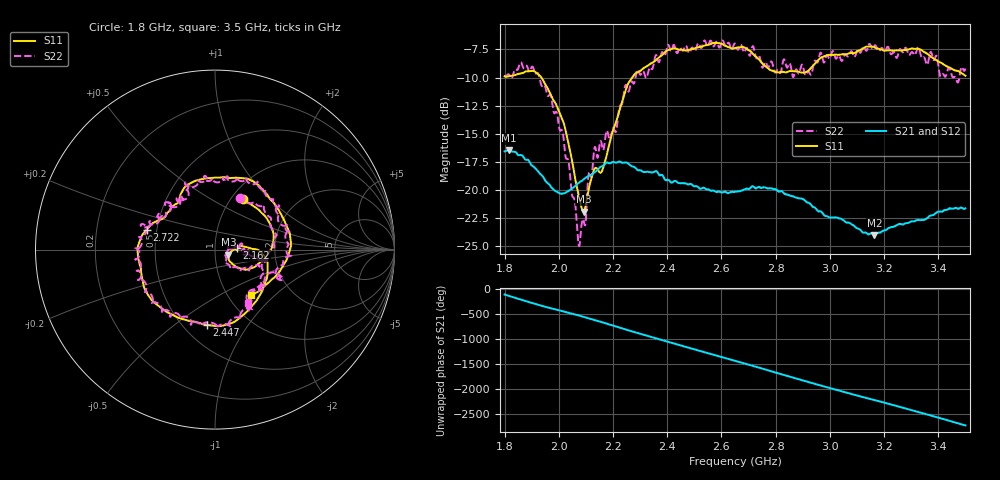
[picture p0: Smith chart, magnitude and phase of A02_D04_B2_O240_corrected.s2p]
! Created with skrf 1.9.0 (http://scikit-rf.org).
# Hz S RI R 50.0
!freq ReS11 ImS11 ReS21 ImS21 ReS12 ImS12 ReS22 ImS22
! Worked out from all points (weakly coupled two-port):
!   1601 points, 1.8 GHz to 3.5 GHz, reference 50 ohm
!   highest |S21| = -16.47 dB at 1.817 GHz (marker M1); lowest = -24.0 dB at 3.164 GHz (marker M2)
!   lowest |S11| = -21.9 dB at 2.091 GHz (marker M3), VSWR 1.17, Z = 58 - j3.31 ohm
!   |S11| at or under -10 dB: 1.935 GHz to 2.271 GHz (335.5 MHz wide, 16 % of centre)
!   |S22| runs from -25.0 to -6.7 dB; largest |S21 - S12| = 0.0024
!   S11 on the Smith chart (normalised r, x): 1.8 GHz: 1.13, +0.71; 2.162 GHz: 1.28, +0.03; 2.447 GHz: 0.65, -0.66; 2.722 GHz: 0.44, +0.12; 3.5 GHz: 1.27, -0.72
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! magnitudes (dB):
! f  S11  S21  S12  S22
! 1.8 GHz  -9.9  -16.6  -16.6  -9.9
! 1.817 GHz  -9.9  -16.5  -16.5  -9.8
! 1.903 GHz  -9.4  -17.9  -17.9  -9.0
! 1.968 GHz  -11.4  -19.6  -19.7  -11.5
! 2.015 GHz  -13.8  -20.3  -20.4  -14.9
! 2.072 GHz  -20.3  -19.4  -19.4  -24.8
! 2.084 GHz  -21.6  -19.2  -19.2  -23.1
! 2.091 GHz  -21.9  -19.1  -19.1  -22.7
! 2.13 GHz  -18.2  -18.5  -18.5  -16.4
! 2.162 GHz  -18.1  -17.9  -17.8  -16.4
! 2.257 GHz  -10.5  -17.7  -17.7  -11.3
! 2.367 GHz  -8.3  -18.6  -18.5  -8.6
! 2.447 GHz  -7.5  -19.4  -19.4  -7.3
! 2.65 GHz  -7.4  -20.2  -20.1  -7.0
! 2.722 GHz  -8.0  -19.8  -19.7  -7.7
! 2.802 GHz  -9.5  -20.0  -20.0  -9.5
! 2.934 GHz  -9.1  -21.4  -21.4  -9.6
! 3.164 GHz  -7.3  -24.0  -24.0  -7.2
! 3.217 GHz  -7.6  -23.4  -23.4  -7.4
! 3.375 GHz  -8.2  -22.3  -22.3  -7.8
! 3.468 GHz  -9.4  -21.6  -21.6  -10.3
! 3.5 GHz  -9.8  -21.7  -21.6  -9.2
